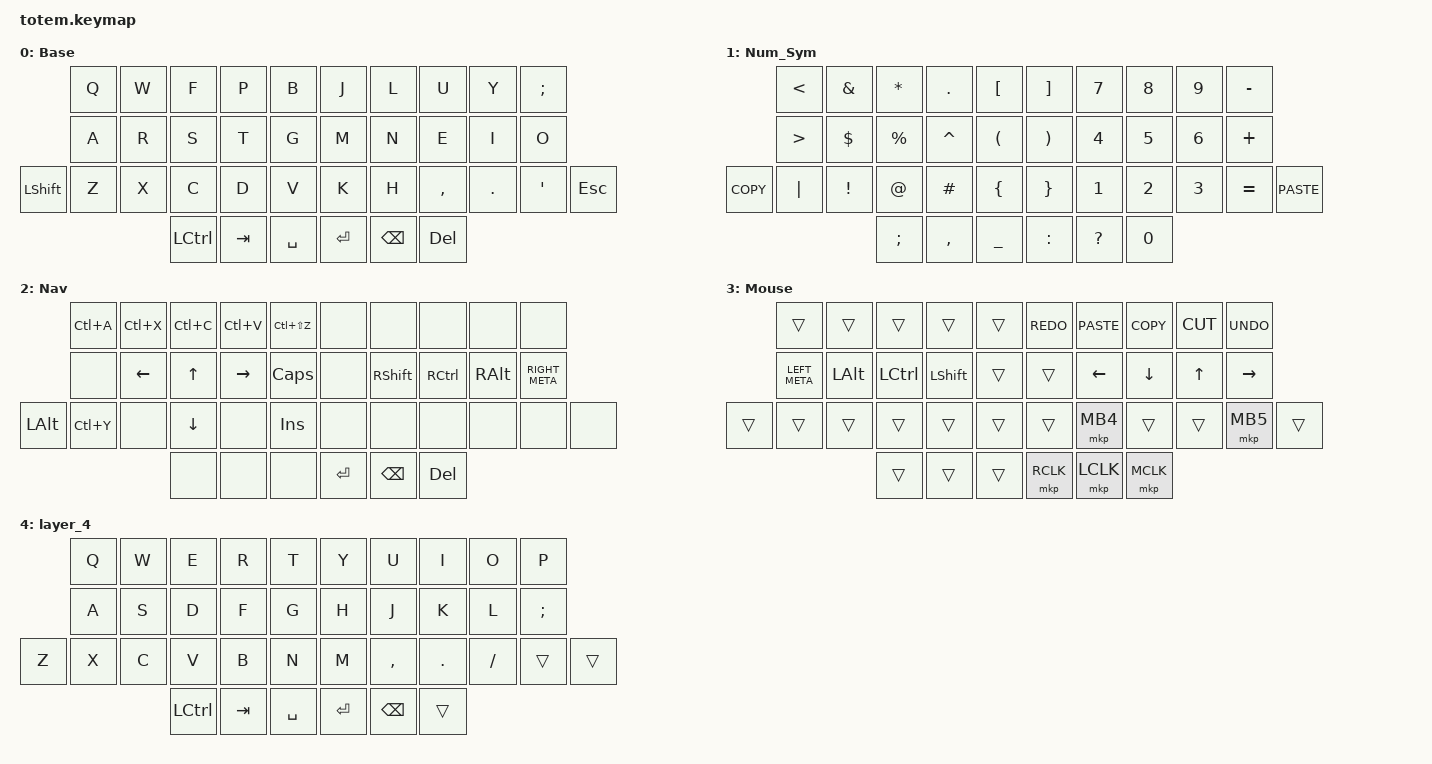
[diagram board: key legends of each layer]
//
//                                                        ▀▀▀▀▀     ▀▀▀▀▀          ▀▀█▀▀
//                                                        ▄▀▀▀▄  ▄  ▄▀▀▀▄  ▄  ▄▀▀▀▄  █  ▄▀▀▀▄
//                                                        █   █  █  █   █  █  █   █  █  █   █
//                                                         ▀▀▀   █   ▀▀▀   █   ▀▀▀   ▀   ▀▀▀
//                                                               █      ▄▄▄█▄▄▄    █   █
//                                                               ▀      █  █  █     █▄█
//                                                             ▀▀▀▀▀    █  █  █      ▀
//                                                                      ▀  ▀  ▀
//
// ▄▄▄▄▄▄▄▄▄▄▄▄▄▄▄▄▄▄▄▄▄▄▄▄▄▄▄▄▄▄▄▄▄▄▄▄▄▄▄▄▄▄▄▄▄▄▄▄▄▄▄▄▄▄▄▄▄▄▄▄▄▄▄▄▄▄▄▄▄▄▄▄▄▄▄▄▄▄▄▄▄▄▄▄▄▄▄▄▄▄▄▄▄▄▄▄▄▄▄▄▄▄▄▄▄▄▄▄▄▄▄▄▄▄▄▄▄▄▄▄▄▄▄▄▄▄▄▄▄▄▄▄▄▄▄▄▄▄▄▄▄▄▄▄▄▄▄▄▄

#include <behaviors.dtsi>
#include <dt-bindings/zmk/keys.h>
#include <dt-bindings/zmk/mouse.h>

#define BASE 0
#define NAV  1
#define MOUSE  2
#define MEDIA  3
#define NUM 4
#define SYM 5

&mt {
    quick-tap-ms = <100>;
    global-quick-tap;
    flavor = "tap-preferred";
    tapping-term-ms = <170>;
};

/ {
    combos {
        compatible = "zmk,combos";

        Layer_1 {
            bindings = <&to 1>;
            key-positions = <35 33>;
        };

        Layer_2 {
            bindings = <&to 2>;
            key-positions = <34 36>;
        };

        Layer_3 {
            bindings = <&to 3>;
            key-positions = <34 37>;
        };

        Base_layer {
            bindings = <&to 0>;
            key-positions = <35 34>;
        };

        Quotations {
            bindings = <&kp DOUBLE_QUOTES>;
            key-positions = <31 28>;
        };
    };

    macros {
        Alt_Sysreq_R: Alt_Sysreq_R {
            compatible = "zmk,behavior-macro";
            #binding-cells = <0>;
            bindings =
                <&macro_press>,
                <&kp RIGHT_ALT &kp SYSREQ &kp R>,
                <&macro_release>;

            label = "ALT_SYSREQ_R";
        };

        Alt_Sysreq_E: Alt_Sysreq_E {
            compatible = "zmk,behavior-macro";
            #binding-cells = <0>;
            bindings =
                <&macro_press>,
                <&kp RIGHT_ALT &kp SYSREQ &kp E>,
                <&macro_release>;

            label = "ALT_SYSREQ_E";
        };

        Alt_Sysreq_I: Alt_Sysreq_I {
            compatible = "zmk,behavior-macro";
            #binding-cells = <0>;
            bindings =
                <&macro_press>,
                <&kp RIGHT_ALT &kp SYSREQ &kp I>,
                <&macro_release>;

            label = "ALT_SYSREQ_I";
        };

        Alt_Sysreq_S: Alt_Sysreq_S {
            compatible = "zmk,behavior-macro";
            #binding-cells = <0>;
            bindings =
                <&macro_press>,
                <&kp RIGHT_ALT &kp SYSREQ &kp S>,
                <&macro_release>;

            label = "ALT_SYSREQ_S";
        };

        Alt_Sysreq_U: Alt_Sysreq_U {
            compatible = "zmk,behavior-macro";
            #binding-cells = <0>;
            bindings =
                <&macro_press>,
                <&kp RIGHT_ALT &kp SYSREQ &kp U>,
                <&macro_release>;

            label = "ALT_SYSREQ_U";
        };

        Alt_Sysreq_B: Alt_Sysreq_B {
            compatible = "zmk,behavior-macro";
            #binding-cells = <0>;
            bindings =
                <&macro_press>,
                <&kp RIGHT_ALT &kp SYSREQ &kp B>,
                <&macro_release>;

            label = "ALT_SYSREQ_B";
        };

        Alt_Sysreq_O: Alt_Sysreq_O {
            compatible = "zmk,behavior-macro";
            #binding-cells = <0>;
            bindings =
                <&macro_press>,
                <&kp RIGHT_ALT &kp SYSREQ &kp O>,
                <&macro_release>;

            label = "ALT_SYSREQ_O";
        };
    };

    keymap {
        compatible = "zmk,keymap";

        BASE {
            label = "Base";
            bindings = <
                &kp Q  &kp W  &kp F             &kp P    &kp B        &kp J      &kp L          &kp U       &kp Y    &kp SEMI
                &kp A  &kp R  &kp S             &kp T    &kp G        &kp M      &kp N          &kp E       &kp I    &kp O
&kp LEFT_SHIFT  &kp Z  &kp X  &kp C             &kp D    &kp V        &kp K      &kp H          &kp COMMA   &kp DOT  &kp SQT   &kp ESC
                              &kp LEFT_CONTROL  &kp TAB  &kp SPACE    &kp ENTER  &kp BACKSPACE  &kp DELETE
            >;
        };

        NUM {
            label = "Num_Sym";
            bindings = <
            &kp LESS_THAN     &kp AMPERSAND    &kp STAR       &kp DOT    &kp LEFT_BRACKET        &kp RIGHT_BRACKET      &kp N7        &kp N8        &kp N9        &kp MINUS
            &kp GREATER_THAN  &kp DLLR         &kp PERCENT    &kp CARET  &kp LEFT_PARENTHESIS    &kp RIGHT_PARENTHESIS  &kp NUMBER_4  &kp N5        &kp NUMBER_6  &kp PLUS
&kp K_COPY  &kp PIPE          &kp EXCLAMATION  &kp AT         &kp HASH   &kp LEFT_BRACE          &kp RIGHT_BRACE        &kp NUMBER_1  &kp NUMBER_2  &kp NUMBER_3  &kp EQUAL  &kp K_PASTE
                                               &kp SEMICOLON  &kp COMMA  &kp UNDER               &kp COLON              &kp QUESTION  &kp N0
            >;
        };

        NAV {
            label = "Nav";
            bindings = <
          &kp LC(A)  &kp LC(X)  &kp LC(C)  &kp LC(V)        &kp LC(LS(Z))    &none      &none            &none              &none          &none
          &none      &kp LEFT   &kp UP     &kp RIGHT_ARROW  &kp CAPSLOCK     &none      &kp RIGHT_SHIFT  &kp RIGHT_CONTROL  &kp RIGHT_ALT  &kp RIGHT_META
&kp LALT  &kp LC(Y)  &none      &kp DOWN   &none            &kp INSERT       &none      &none            &none              &none          &none           &none
                                &none      &none            &none            &kp ENTER  &kp BACKSPACE    &kp DELETE
            >;
        };

        MOUSE {
            label = "Mouse";
            bindings = <
        &trans         &trans        &trans            &trans          &trans    &kp K_REDO  &kp K_PASTE     &kp K_COPY      &kp K_CUT     &kp K_UNDO
        &kp LEFT_META  &kp LEFT_ALT  &kp LEFT_CONTROL  &kp LEFT_SHIFT  &trans    &trans      &kp LEFT_ARROW  &kp DOWN_ARROW  &kp UP_ARROW  &kp RIGHT_ARROW
&trans  &trans         &trans        &trans            &trans          &trans    &trans      &mkp MB4        &trans          &trans        &mkp MB5         &trans
                                     &trans            &trans          &trans    &mkp RCLK   &mkp LCLK       &mkp MCLK
            >;
        };

        layer_4 {
            bindings = <
       &kp Q  &kp W  &kp E      &kp R    &kp T        &kp Y    &kp U      &kp I    &kp O     &kp P
       &kp A  &kp S  &kp D      &kp F    &kp G        &kp H    &kp J      &kp K    &kp L     &kp SEMI
&kp Z  &kp X  &kp C  &kp V      &kp B    &kp N        &kp M    &kp COMMA  &kp DOT  &kp FSLH  &trans    &trans
                     &kp LCTRL  &kp TAB  &kp SPACE    &kp RET  &kp BSPC   &trans
            >;
        };
    };
};
